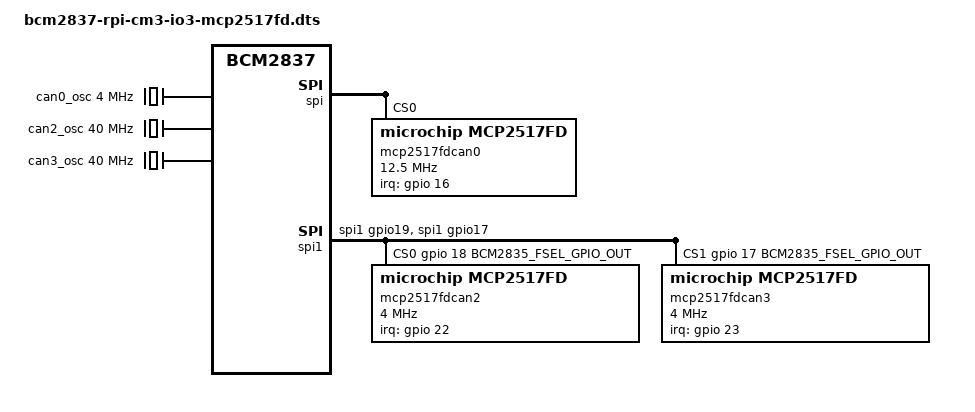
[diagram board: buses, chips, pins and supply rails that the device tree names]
#include "bcm2837-rpi-cm3-io3.dts"

/ {
 soc {
  can0_osc: can0_osc {
   compatible = "fixed-clock";
   #clock-cells = <0>;
   clock-frequency  = <4000000>;
  };
  can2_osc: can2_osc {
   compatible = "fixed-clock";
   #clock-cells = <0>;
   clock-frequency  = <40000000>;
  };
  can3_osc: can3_osc {
   compatible = "fixed-clock";
   #clock-cells = <0>;
   clock-frequency  = <40000000>;
  };
 };
};

&gpio {
  can0_pins: can0_pins {
   brcm,pins = <16>;
   brcm,function = <0>; /* input */
  };
  can2_pins: can2_pins {
    brcm,pins = <22>;
    brcm,function = <0>; /* input */
  };
  can3_pins: can3_pins {
    brcm,pins = <23>;
    brcm,function = <0>; /* input */
  };

  spi1_gpio19: spi1_gpio19 {
    brcm,pins = <19 20 21>;
    brcm,function = <BCM2835_FSEL_ALT4>;
  };

  spi1_gpio17: spi1_gpio17 {
    brcm,pins = <17 18>;
    brcm,function = <BCM2835_FSEL_GPIO_OUT>;
  };

};

&spi {
 status = "okay";
//  pinctrl-names = "default";
//  pinctrl-0 = <&spi0_gpio7>;
 dmas = <&dma 6>, <&dma 7>;
 dma-names = "tx", "rx";

mcp2517fdcan0: can@0 {
  compatible = "microchip,mcp2517fd";
  pinctrl-names = "default";
  pinctrl-0 = <&can0_pins>;
  reg = <0>;
  clocks = <&can0_osc>;
  spi-max-frequency = <12500000>;
  interrupt-parent = <&gpio>;
  interrupts = <16 0x8>;
 };
};

&spi1 {
  status = "okay";
  pinctrl-names = "default";
  pinctrl-0 = <&spi1_gpio19>, <&spi1_gpio17>;
  cs-gpios = <&gpio 18 BCM2835_FSEL_GPIO_OUT>,
             <&gpio 17 BCM2835_FSEL_GPIO_OUT>;

  mcp2517fdcan2: can@0 {
    compatible = "microchip,mcp2517fd";
    pinctrl-names = "default";
    pinctrl-0 = <&can2_pins>;
    reg = <0>;
    clocks = <&can2_osc>;
    spi-max-frequency = <4000000>;
    interrupt-parent = <&gpio>;
    interrupts = <22 0x8>;
  };

  mcp2517fdcan3: can@1 {
    compatible = "microchip,mcp2517fd";
    pinctrl-names = "default";
    pinctrl-0 = <&can3_pins>;
    reg = <1>;
    clocks = <&can3_osc>;
    spi-max-frequency = <4000000>;
    interrupt-parent = <&gpio>;
    interrupts = <23 0x8>;
  };

};
